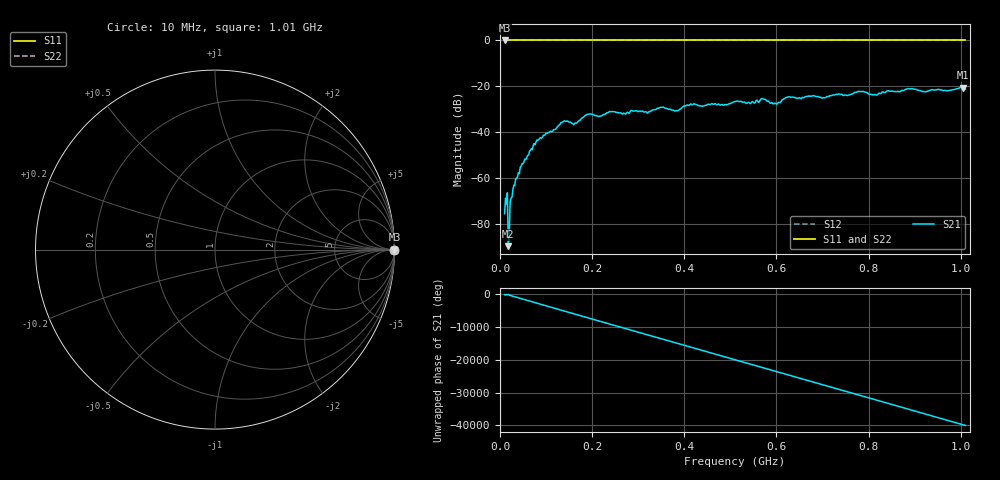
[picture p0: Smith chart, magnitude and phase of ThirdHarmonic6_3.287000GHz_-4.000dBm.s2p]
! 8/17/2025 10:12:38 AM
! C:\ANRITSUVNA\TEMP\TEMP.S2P
! CHANNEL.1
! TR.MEASUREMENT
! RAW.DATA
! RF.CORRECTION.OFF
! AVERAGING.OFF
! IF.BANDWIDTH: 5KHZ
! SWEEPTYPE:  FREQ.SWEEP(Linear)
! Reference Plane Port Info
! PORT:  PORT1  PORT2
! DISTANCE:  0  m  0  m
! TIME:  0  s  0  s
! PHASE.OFFSET:  0  deg.  0  deg.
! LOSS:  0  dB  0  dB
! REF.LOSS:  0  dB  0  dB
! REF.FREQ:  0  Hz  0  Hz
! Power Info
! POWER:  -20  dBm  -20  dBm
! EFF.POWER:  -20  dBm  -20  dBm
! SOURCE.ATTEN:  0  dB  0  dB
! TEST.ATTEN:  0  dB  0  dB
# GHZ S RI R 50.0
! FREQ.GHZ  S11RE  S11IM  S21RE  S21IM  S12RE  S12IM  S22RE  S22IM
!; PortSelection: Port_12
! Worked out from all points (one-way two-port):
!   501 points, 10 MHz to 1.01 GHz, reference 50 ohm
!   highest |S21| = -20.55 dB at 1.004 GHz (marker M1); lowest = -89.8 dB at 18 MHz (marker M2)
!   lowest |S11| = 0.0 dB at 10 MHz (marker M3)
!   |S11| at or under -10 dB: nowhere
!   |S22| runs from 0.0 to 0.0 dB; largest |S21 - S12| = 1.1
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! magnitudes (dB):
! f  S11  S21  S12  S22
! 10 MHz  0.0  -75.6  0.0  0.0
! 12 MHz  0.0  -68.9  0.0  0.0
! 18 MHz  0.0  -89.8  0.0  0.0
! 22 MHz  0.0  -70.6  0.0  0.0
! 26 MHz  0.0  -68.4  0.0  0.0
! 44 MHz  0.0  -55.3  0.0  0.0
! 76 MHz  0.0  -45.5  0.0  0.0
! 136 MHz  0.0  -35.7  0.0  0.0
! 162 MHz  0.0  -36.2  0.0  0.0
! 178 MHz  0.0  -33.8  0.0  0.0
! 194 MHz  0.0  -32.1  0.0  0.0
! 344 MHz  0.0  -29.6  0.0  0.0
! 384 MHz  0.0  -30.7  0.0  0.0
! 418 MHz  0.0  -28.0  0.0  0.0
! 510 MHz  0.0  -26.6  0.0  0.0
! 570 MHz  0.0  -25.4  0.0  0.0
! 598 MHz  0.0  -27.5  0.0  0.0
! 624 MHz  0.0  -24.7  0.0  0.0
! 678 MHz  0.0  -24.2  0.0  0.0
! 844 MHz  0.0  -22.1  0.0  0.0
! 1.004 GHz  0.0  -20.5  0.0  0.0
! 1.01 GHz  0.0  -21.2  0.0  0.0
